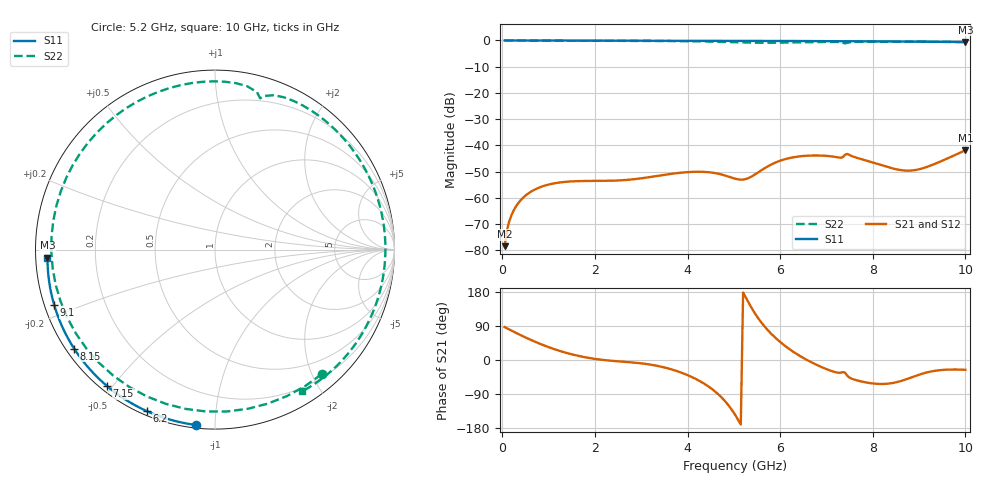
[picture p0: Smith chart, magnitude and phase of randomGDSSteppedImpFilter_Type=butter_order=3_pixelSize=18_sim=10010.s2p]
! freq	dB(S11)	phase(S11)	dB(S12)	phase(S12)
!  dB(S21)	phase(S21)	dB(S22)	phase(S22)
!S-par simulation data
#  GHz  S  DB  R 50
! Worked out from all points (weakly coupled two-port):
!   200 points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, 50 MHz to 10 GHz, reference 50 ohm
!   highest |S21| = -41.88 dB at 10 GHz (marker M1); lowest = -78.5 dB at 50 MHz (marker M2)
!   lowest |S11| = -0.6 dB at 10 GHz (marker M3), VSWR 29.48, Z = 1.7 - j1.21 ohm
!   |S11| at or under -10 dB: nowhere
!   |S22| runs from -1.1 to 0.0 dB; largest |S21 - S12| = 0
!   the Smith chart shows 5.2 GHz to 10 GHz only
!   S11 on the Smith chart (normalised r, x): 5.2 GHz: 0.02, -0.89; 6.2 GHz: 0.02, -0.66; 7.15 GHz: 0.02, -0.48; 8.15 GHz: 0.02, -0.32; 9.1 GHz: 0.03, -0.17; 10 GHz: 0.03, -0.02
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0.05  -0.00 -1.0  -78.48 86.8  -78.48 86.8  -0.00 -5.4
0.15  -0.00 -3.0  -69.00 80.5  -69.00 80.5  -0.02 -16.0
0.3  -0.01 -6.0  -63.19 71.3  -63.19 71.3  -0.04 -31.6
0.8  -0.02 -15.8  -56.10 43.4  -56.10 43.4  -0.09 -79.3
1.2  -0.03 -23.7  -54.28 25.5  -54.28 25.5  -0.11 -111.4
1.75  -0.04 -34.3  -53.62 8.1  -53.62 8.1  -0.13 -148.2
2.55  -0.06 -49.4  -53.38 -4.0  -53.38 -4.0  -0.15 166.5
3.4  -0.09 -65.0  -51.54 -16.8  -51.54 -16.8  -0.21 118.9
3.85  -0.10 -73.0  -50.46 -32.7  -50.46 -32.7  -0.27 89.8
4.25  -0.11 -80.1  -50.09 -54.6  -50.09 -54.6  -0.36 58.9
4.7  -0.13 -87.8  -51.00 -94.6  -51.00 -94.6  -0.53 14.8
5.05  -0.15 -93.8  -52.84 -149.1  -52.84 -149.1  -0.71 -28.5
5.2  -0.15 -96.3  -53.06 178.3  -53.06 178.3  -0.78 -49.4
5.6  -0.17 -103.0  -49.47 98.0  -49.47 98.0  -0.90 -107.7
5.9  -0.19 -108.0  -46.57 58.3  -46.57 58.3  -0.87 -148.9
6.2  -0.21 -113.0  -44.87 28.7  -44.87 28.7  -0.78 175.2
6.7  -0.24 -121.1  -43.89 -7.6  -43.89 -7.6  -0.64 126.4
7.15  -0.27 -128.5  -44.32 -30.7  -44.32 -30.7  -0.56 90.4
8.15  -0.36 -144.9  -47.35 -63.2  -47.35 -63.2  -0.45 28.7
8.35  -0.38 -148.2  -48.43 -62.2  -48.43 -62.2  -0.45 17.8
9.1  -0.47 -161.0  -48.66 -35.0  -48.66 -35.0  -0.47 -19.6
10  -0.59 -177.2  -41.88 -25.9  -41.88 -25.9  -0.66 -58.4
